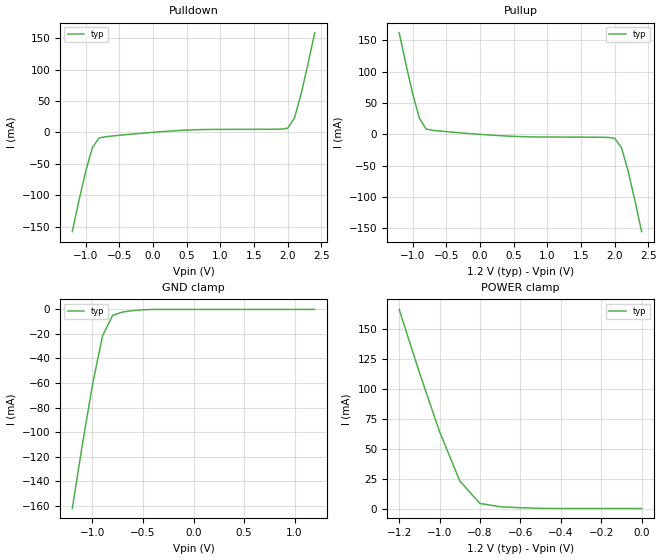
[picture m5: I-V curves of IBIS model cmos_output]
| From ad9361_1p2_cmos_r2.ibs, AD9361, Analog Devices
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[MODEL] cmos_output
Model_type   Output
Polarity   Non-Inverting
Cref  =   3.000pF
Rref  =   10kOhm
Vref  =   1.2V
Vmeas =   0.9V
|   typ   min   max
C_comp   3.000pF   NA   NA
[Voltage Range]   1.20V   NA   NA
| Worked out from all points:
|   slope of the pulldown table from 0 to 0.18 V, typ, clamps not added: 122 ohm
|   slope of the pullup table from 0 to 0.18 V, typ, clamps not added: 138 ohm
|   GND clamp passes 1 mA (typ) near -0.60 V on its own axis
|   POWER clamp passes 1 mA (typ) near -0.64 V on its own axis
[GND Clamp]
| Voltage  I(typ)   I(min)  I(max)
-1.2V     -162.3mA   NA         NA
-1.1V     -110.2mA   NA         NA
-1V       -61.38mA   NA         NA
-900mV    -21.55mA   NA         NA
-800mV    -4.757mA   NA         NA
-700mV    -2.081mA   NA         NA
-400mV    -32.46uA   NA         NA
1.2V      60pA       NA         NA
[POWER Clamp]
| Voltage  I(typ)   I(min)  I(max)
-1.2V     166mA      NA         NA
-1.1V     113.4mA    NA         NA
-1V       64.07mA    NA         NA
-900mV    22.95mA    NA         NA
-800mV    4.199mA    NA         NA
-700mV    1.478mA    NA         NA
-600mV    656.2uA    NA         NA
0V        60pA       NA         NA
[Pulldown]
| Voltage  I(typ)   I(min)  I(max)
-1.2V     -158.2mA   NA         NA
-1.1V     -108.3mA   NA         NA
-1V       -61.75mA   NA         NA
-900mV    -23.96mA   NA         NA
-800mV    -8.846mA   NA         NA
-300mV    -2.734mA   NA         NA
500mV     3.566mA    NA         NA
2V        6.533mA    NA         NA
2.1V      23.31mA    NA         NA
2.2V      62.17mA    NA         NA
2.3V      109mA      NA         NA
2.4V      158.9mA    NA         NA
[Pullup]
| Voltage  I(typ)   I(min)  I(max)
-1.2V     162.3mA    NA         NA
-1.1V     112.2mA    NA         NA
-1V       65.03mA    NA         NA
-900mV    25.81mA    NA         NA
-800mV    8.539mA    NA         NA
-400mV    3.371mA    NA         NA
400mV     -2.674mA   NA         NA
2V        -6.277mA   NA         NA
2.1V      -21.1mA    NA         NA
2.2V      -58.73mA   NA         NA
2.3V      -105.2mA   NA         NA
2.4V      -155mA     NA         NA
[Ramp]
|   typ   min   max
dV/dt_r   0.78V/.2839652ns   NA   NA
dV/dt_f   0.78V/.2711113ns   NA   NA
R_load=10k
|----------------------------end cmos_output model---------------
